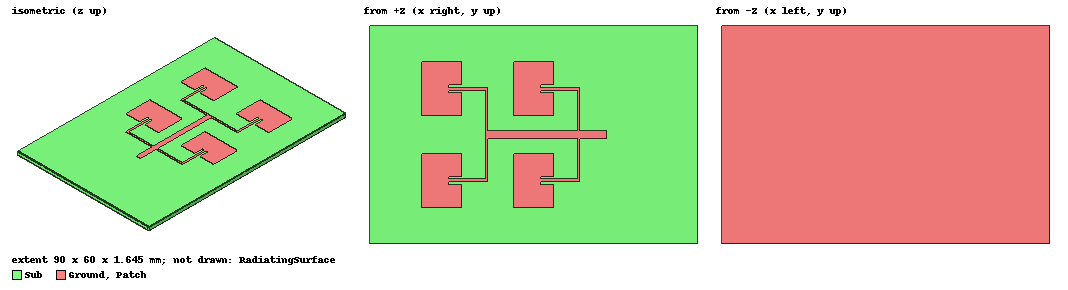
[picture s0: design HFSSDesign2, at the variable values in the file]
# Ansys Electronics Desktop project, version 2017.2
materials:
  vacuum: permittivity=1
  copper: permeability=0.999991 conductivity=58000000
  FR4_epoxy: permittivity=4.4 dielectric_loss_tangent=0.02
  air: permittivity=1.0006 permeability=1.0000004
  PMLGroup1_Z_1: permittivity{anisotropic component1=1.1 component2=1.1 component3=0.45454545} permeability{anisotropic component1=1.1 component2=1.1 component3=0.45454545} dielectric_loss_tangent{anisotropic component1=1 component2=1 component3=-1} magnetic_loss_tangent{anisotropic component1=1 component2=1 component3=-1}
  PMLGroup1_XZ_1: permittivity{anisotropic component1=1 component2=0.01 component3=1} permeability{anisotropic component1=1 component2=0.01 component3=1} dielectric_loss_tangent{anisotropic component1=0 component2=242 component3=0} magnetic_loss_tangent{anisotropic component1=0 component2=242 component3=0}
  PMLGroup1_YZ_1: permittivity{anisotropic component1=0.01 component2=1 component3=1} permeability{anisotropic component1=0.01 component2=1 component3=1} dielectric_loss_tangent{anisotropic component1=242 component2=0 component3=0} magnetic_loss_tangent{anisotropic component1=242 component2=0 component3=0}
  PMLGroup1_XYZ_1: permittivity{anisotropic component1=1.1 component2=1.1 component3=1.1} permeability{anisotropic component1=1.1 component2=1.1 component3=1.1} dielectric_loss_tangent{anisotropic component1=1 component2=1 component3=1} magnetic_loss_tangent{anisotropic component1=1 component2=1 component3=1}
  PMLGroup1_Z_2: permittivity{anisotropic component1=1.1 component2=1.1 component3=0.45454545} permeability{anisotropic component1=1.1 component2=1.1 component3=0.45454545} dielectric_loss_tangent{anisotropic component1=1 component2=1 component3=-1} magnetic_loss_tangent{anisotropic component1=1 component2=1 component3=-1}
  PMLGroup1_XZ_2: permittivity{anisotropic component1=1 component2=0.01 component3=1} permeability{anisotropic component1=1 component2=0.01 component3=1} dielectric_loss_tangent{anisotropic component1=0 component2=242 component3=0} magnetic_loss_tangent{anisotropic component1=0 component2=242 component3=0}
  PMLGroup1_YZ_2: permittivity{anisotropic component1=0.01 component2=1 component3=1} permeability{anisotropic component1=0.01 component2=1 component3=1} dielectric_loss_tangent{anisotropic component1=242 component2=0 component3=0} magnetic_loss_tangent{anisotropic component1=242 component2=0 component3=0}
  PMLGroup1_XYZ_2: permittivity{anisotropic component1=1.1 component2=1.1 component3=1.1} permeability{anisotropic component1=1.1 component2=1.1 component3=1.1} dielectric_loss_tangent{anisotropic component1=1 component2=1 component3=1} magnetic_loss_tangent{anisotropic component1=1 component2=1 component3=1}

design HFSSDesign1 (HFSS, DrivenTerminal, model units mm)
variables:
  L = 30mm
  W = 30mm
  h = 1.27mm
  Cu = 35um
  Lp = 11.5mm
  Wp = 16mm
  Wf = 1.2mm
  x50 = 3mm
  Lfeed = 10mm
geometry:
  Ground [copper] = box(corner=(-L/2, -W/2, -h), size=(L, W, -Cu))
  Sub [FR4_epoxy] = box(corner=(-L/2, -W/2, -h), size=(L, W, h))
  Patch [copper] = box(corner=(-Lp/2, -Wp/2, 0), size=(Lp, Wp, Cu))
  Feed = box(corner=(x50, -3*Wf/2, 0mm), size=(lp/2-x50, 3*Wf, cu))
  Patch.subtract(Feed)
  feedline = box(corner=(x50, -wf/2, 0mm), size=(Lfeed, wf, Cu))
  Patch.unite(feedline)
  P1 = rectangle(corner=(Lfeed+x50, -wf/2, Cu), y_size=wf, z_size=-2*cu-h)
  RadiatingSurface [vacuum] = region(absolute_offset=12.931034mm on all sides)
  coordinate_system FaceCS1 = face of RadiatingSurface: Origin=RadiatingSurface.vertex(1 of 8) FaceID=RadiatingSurface.face(+z) AxisPosn=RadiatingSurface.vertex(2 of 8) WhichAxis=X
  PML_RadiatingSurface_1 [PMLGroup1_Z_1, oriented by FaceCS1] = sweep_along_normal(RadiatingSurface.face(+z), length=22.304206mm)
  coordinate_system FaceCS2 = face of RadiatingSurface: Origin=RadiatingSurface.vertex(5 of 8) FaceID=RadiatingSurface.face(-z) AxisPosn=RadiatingSurface.vertex(6 of 8) WhichAxis=X
  PML_RadiatingSurface_2 [PMLGroup1_Z_1, oriented by FaceCS2] = sweep_along_normal(RadiatingSurface.face(-z), length=22.304206mm)
  coordinate_system FaceCS3 = face of RadiatingSurface: Origin=RadiatingSurface.vertex(4 of 8) FaceID=RadiatingSurface.face(-y) AxisPosn=RadiatingSurface.vertex(7 of 8) WhichAxis=X
  PML_RadiatingSurface_3 [PMLGroup1_Z_1, oriented by FaceCS3] = sweep_along_normal(RadiatingSurface.face(-y), length=22.304206mm)
  coordinate_system FaceCS4 = face of RadiatingSurface: Origin=RadiatingSurface.vertex(3 of 8) FaceID=RadiatingSurface.face(-x) AxisPosn=RadiatingSurface.vertex(8 of 8) WhichAxis=X
  PML_RadiatingSurface_4 [PMLGroup1_Z_1, oriented by FaceCS4] = sweep_along_normal(RadiatingSurface.face(-x), length=22.304206mm)
  coordinate_system FaceCS5 = face of RadiatingSurface: Origin=RadiatingSurface.vertex(2 of 8) FaceID=RadiatingSurface.face(+y) AxisPosn=RadiatingSurface.vertex(5 of 8) WhichAxis=X
  PML_RadiatingSurface_5 [PMLGroup1_Z_1, oriented by FaceCS5] = sweep_along_normal(RadiatingSurface.face(+y), length=22.304206mm)
  coordinate_system FaceCS6 = face of RadiatingSurface: Origin=RadiatingSurface.vertex(1 of 8) FaceID=RadiatingSurface.face(+x) AxisPosn=RadiatingSurface.vertex(6 of 8) WhichAxis=X
  PML_RadiatingSurface_6 [PMLGroup1_Z_1, oriented by FaceCS6] = sweep_along_normal(RadiatingSurface.face(+x), length=22.304206mm)
  PML_RadiatingSurface_7 [PMLGroup1_XZ_1, oriented by FaceCS3] = sweep_along_normal(PML_RadiatingSurface_1.face(at (0, -27.931, 24.1181)), length=22.304206mm)
  PML_RadiatingSurface_8 [PMLGroup1_XZ_1, oriented by FaceCS4] = sweep_along_normal(PML_RadiatingSurface_1.face(at (-27.931, 0, 24.1181)), length=22.304206mm)
  PML_RadiatingSurface_9 [PMLGroup1_XZ_1, oriented by FaceCS5] = sweep_along_normal(PML_RadiatingSurface_1.face(at (0, 27.931, 24.1181)), length=22.304206mm)
  PML_RadiatingSurface_10 [PMLGroup1_YZ_1, oriented by FaceCS1] = sweep_along_normal(PML_RadiatingSurface_1.face(at (27.931, 0, 24.1181)), length=22.304206mm)
  coordinate_system FaceCS7 = face of RadiatingSurface: Origin=RadiatingSurface.vertex(6 of 8) FaceID=RadiatingSurface.face(-z) AxisPosn=RadiatingSurface.vertex(7 of 8) WhichAxis=X
  PML_RadiatingSurface_11 [PMLGroup1_YZ_1, oriented by FaceCS7] = sweep_along_normal(PML_RadiatingSurface_2.face(at (0, -27.931, -25.3881)), length=22.304206mm)
  coordinate_system FaceCS8 = face of RadiatingSurface: Origin=RadiatingSurface.vertex(7 of 8) FaceID=RadiatingSurface.face(-z) AxisPosn=RadiatingSurface.vertex(8 of 8) WhichAxis=X
  PML_RadiatingSurface_12 [PMLGroup1_YZ_1, oriented by FaceCS8] = sweep_along_normal(PML_RadiatingSurface_2.face(at (-27.931, 0, -25.3881)), length=22.304206mm)
  PML_RadiatingSurface_13 [PMLGroup1_XZ_1, oriented by FaceCS2] = sweep_along_normal(PML_RadiatingSurface_2.face(at (0, 27.931, -25.3881)), length=22.304206mm)
  PML_RadiatingSurface_14 [PMLGroup1_YZ_1, oriented by FaceCS2] = sweep_along_normal(PML_RadiatingSurface_2.face(at (27.931, 0, -25.3881)), length=22.304206mm)
  PML_RadiatingSurface_15 [PMLGroup1_YZ_1, oriented by FaceCS3] = sweep_along_normal(PML_RadiatingSurface_3.face(at (-27.931, -39.0831, -0.635)), length=22.304206mm)
  PML_RadiatingSurface_16 [PMLGroup1_YZ_1, oriented by FaceCS6] = sweep_along_normal(PML_RadiatingSurface_3.face(at (27.931, -39.0831, -0.635)), length=22.304206mm)
  PML_RadiatingSurface_17 [PMLGroup1_YZ_1, oriented by FaceCS4] = sweep_along_normal(PML_RadiatingSurface_4.face(at (-39.0831, 27.931, -0.635)), length=22.304206mm)
  PML_RadiatingSurface_18 [PMLGroup1_YZ_1, oriented by FaceCS5] = sweep_along_normal(PML_RadiatingSurface_5.face(at (27.931, 39.0831, -0.635)), length=22.304206mm)
  PML_RadiatingSurface_19 [PMLGroup1_XYZ_1, oriented by FaceCS3] = sweep_along_normal(PML_RadiatingSurface_7.face(at (-27.931, -39.0831, 24.1181)), length=22.304206mm)
  PML_RadiatingSurface_20 [PMLGroup1_XYZ_1, oriented by FaceCS1] = sweep_along_normal(PML_RadiatingSurface_7.face(at (27.931, -39.0831, 24.1181)), length=22.304206mm)
  PML_RadiatingSurface_21 [PMLGroup1_XYZ_1, oriented by FaceCS4] = sweep_along_normal(PML_RadiatingSurface_8.face(at (-39.0831, 27.931, 24.1181)), length=22.304206mm)
  PML_RadiatingSurface_22 [PMLGroup1_XYZ_1, oriented by FaceCS5] = sweep_along_normal(PML_RadiatingSurface_9.face(at (27.931, 39.0831, 24.1181)), length=22.304206mm)
  PML_RadiatingSurface_23 [PMLGroup1_XYZ_1, oriented by FaceCS8] = sweep_along_normal(PML_RadiatingSurface_11.face(at (-27.931, -39.0831, -25.3881)), length=22.304206mm)
  PML_RadiatingSurface_24 [PMLGroup1_XYZ_1, oriented by FaceCS7] = sweep_along_normal(PML_RadiatingSurface_11.face(at (27.931, -39.0831, -25.3881)), length=22.304206mm)
  coordinate_system FaceCS9 = face of RadiatingSurface: Origin=RadiatingSurface.vertex(8 of 8) FaceID=RadiatingSurface.face(-z) AxisPosn=RadiatingSurface.vertex(5 of 8) WhichAxis=X
  PML_RadiatingSurface_25 [PMLGroup1_XYZ_1, oriented by FaceCS9] = sweep_along_normal(PML_RadiatingSurface_12.face(at (-39.0831, 27.931, -25.3881)), length=22.304206mm)
  PML_RadiatingSurface_26 [PMLGroup1_XYZ_1, oriented by FaceCS2] = sweep_along_normal(PML_RadiatingSurface_13.face(at (27.931, 39.0831, -25.3881)), length=22.304206mm)
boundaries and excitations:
  PML_radiation1: Radiation Faces=RadiatingSurface.face(+z) IsForPML
  PML_radiation2: Radiation Faces=RadiatingSurface.face(-z) IsForPML
  PML_radiation3: Radiation Faces=RadiatingSurface.face(-y) IsForPML
  PML_radiation4: Radiation Faces=RadiatingSurface.face(-x) IsForPML
  PML_radiation5: Radiation Faces=RadiatingSurface.face(+y) IsForPML
  PML_radiation6: Radiation Faces=RadiatingSurface.face(+x) IsForPML
  T1: Terminal port=1 Faces=Patch.face(6 of 6) TerminalResistance=50ohm
  1: Lumped Port Faces=P1.face Impedance=50ohm
  reference conductors: Ground
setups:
  Setup2: HfssDriven Frequency=5.8GHz MaxDeltaS=0.02 MaximumPasses=10 MinimumPasses=1 MinimumConvergedPasses=1 PercentRefinement=30 BasisOrder=1 PortAccuracy=2 UseDomains DDMSolverResidual=0.0001 RayDensityPerWavelength=4 MaxNumberOfBounces=5 SkipSBRSolveDuringAdaptivePasses
    sweep Sweep: 5GHz to 6GHz, 100 points; Type=Discrete SaveFields
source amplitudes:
  1:1: 1V 0deg
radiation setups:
  3D: Infinite Sphere Theta=0deg..180deg step 2deg Phi=-180deg..180deg step 2deg
  Elevation: Infinite Sphere Theta=-180deg..180deg step 1deg Phi=0deg..90deg step 90deg
  Azimuth: Infinite Sphere Theta=90deg..90deg step 0deg Phi=-180deg..180deg step 1deg
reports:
  Terminal S Parameter Plot 1: dB(St(T1,T1)) vs Freq on Setup2 : Sweep; markers m1 at 5.7979798GHz, m2 at 5.8787879GHz
  Terminal Z Parameter Plot 1: re(Zt(T1,T1)) vs Freq on Setup2 : Sweep; markers m1 at 5.7777778GHz, m2 at 5.7777778GHz, m3 at 5.7997399GHz
  System Gain Plot 1: dB(SystemGainTotal) vs Theta on Setup2 : LastAdaptive, 3D [Phi=all Freq=5.8GHz]
  System Gain Plot 2: dB(SystemGainTotal) vs Phi, Theta on Setup2 : LastAdaptive, 3D [Freq=5.8GHz]

design HFSSDesign2 (HFSS, DrivenTerminal, model units mm)
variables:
  L = 90mm
  W = 60mm
  h = 0.062in
  Cu = 35um
  Lp = 11mm
  Wp = 15mm
  Wf = 0.8mm
  x50 = 2mm
  Lfeed = 10mm
  hw = 25.2mm
  W100 = 0.7mm
  W70 = 2mm
  Ql = 7.2mm
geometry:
  Ground [copper] = box(corner=(-L/2, -W/2, -h), size=(L, W, -Cu))
  Sub [FR4_epoxy] = box(corner=(-L/2, -W/2, -h), size=(L, W, h))
  Patch [copper] = box(corner=(-Lp/2, -Wp/2, 0), size=(Lp, Wp, Cu))
  Feed = box(corner=(x50, -3*Wf/2, 0mm), size=(lp/2-x50, 3*Wf, cu))
  Patch.subtract(Feed)
  feedline = box(corner=(x50, -wf/2, 0mm), size=(Lfeed, wf, Cu))
  Patch.unite(feedline)
  RadiatingSurface [vacuum] = region(absolute_offset=17.241379mm on all sides)
  Patch.move(0mm, -hw/2, 0)
  Patch1 = box(corner=(-Lp/2, -Wp/2, 0), size=(Lp, Wp, Cu))
  Feed1 = box(corner=(x50, -3*Wf/2, 0mm), size=(lp/2-x50, 3*Wf, cu))
  Patch1.subtract(Feed1)
  feedline1 = box(corner=(x50, -wf/2, 0mm), size=(Lfeed, wf, Cu))
  Patch1.unite(feedline1)
  Patch1.move(0mm, hW/2, 0)
  Box1 = box(corner=(x50+lfeed, -wf/2-hw/2, 0mm), size=(W100, hw+wf, Cu))
  Patch.unite(Patch1, Box1)
  70qWtransformer = box(corner=(x50+lfeed+w100-HW, -W70/2, 0mm), size=(Ql+HW, w70, cu))
  Patch.unite(70qWtransformer)
  Rectangle1 = rectangle(corner=(x50+lfeed+w100 +QL, -W70/2, Cu), y_size=w70, z_size=-2*Cu-h)
  Patch3 = box(corner=(-Lp/2, -Wp/2, 0), size=(Lp, Wp, Cu))
  Feed3 = box(corner=(x50, -3*Wf/2, 0mm), size=(lp/2-x50, 3*Wf, cu))
  Patch3.subtract(Feed3)
  feedline3 = box(corner=(x50, -wf/2, 0mm), size=(Lfeed, wf, Cu))
  Patch3.unite(feedline3)
  Patch3.move(-Hw, -hW/2, 0)
  Patch4 = box(corner=(-Lp/2, -Wp/2, 0), size=(Lp, Wp, Cu))
  Feed4 = box(corner=(x50, -3*Wf/2, 0mm), size=(lp/2-x50, 3*Wf, cu))
  Patch4.subtract(Feed4)
  feedline4 = box(corner=(x50, -wf/2, 0mm), size=(Lfeed, wf, Cu))
  Patch4.unite(feedline4)
  Patch4.move(-Hw, hW/2, 0)
  Box2 = box(corner=(x50+lfeed, -wf/2-hw/2, 0mm), size=(W100, hw+wf, Cu))
  Box2.move(-HW, 0mm, 0mm)
  Patch3.unite(Patch4, Box2)
  Patch.unite(Patch3)
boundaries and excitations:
  Open1: Radiation Objects=RadiatingSurface
  Patch_T1: Terminal port=1 Faces=Patch.face(6 of 6) TerminalResistance=50ohm
  1: Lumped Port Faces=Rectangle1.face Impedance=50ohm
  reference conductors: Ground
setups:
  Setup2: HfssDriven Frequency=5.8GHz MaxDeltaS=0.02 MaximumPasses=10 MinimumPasses=1 MinimumConvergedPasses=1 PercentRefinement=30 BasisOrder=1 PortAccuracy=2 UseDomains DDMSolverResidual=0.0001 RayDensityPerWavelength=4 MaxNumberOfBounces=5 SkipSBRSolveDuringAdaptivePasses
    sweep Sweep: 5GHz to 6GHz, 100 points; Type=Discrete SaveFields
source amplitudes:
  1:1: 1V 0deg
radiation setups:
  3D: Infinite Sphere Theta=0deg..180deg step 2deg Phi=-180deg..180deg step 2deg
  Elevation: Infinite Sphere Theta=-180deg..180deg step 1deg Phi=0deg..90deg step 90deg
  Azimuth: Infinite Sphere Theta=90deg..90deg step 0deg Phi=-180deg..180deg step 1deg
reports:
  Terminal S Parameter Plot 1: dB(St(Patch_T1,Patch_T1)) vs Freq on Setup2 : Sweep; markers m1 at 5.8GHz
  Terminal Z Parameter Plot 1: re(Zt(Patch_T1,Patch_T1)) vs Freq on Setup2 : Sweep; markers m1 at 5.7996096GHz, m2 at 5.1680885GHz
  Realized Gain Plot 1: dB(RealizedGainTotal) vs Phi, Theta on Setup2 : LastAdaptive, 3D [Freq=5.8GHz]
